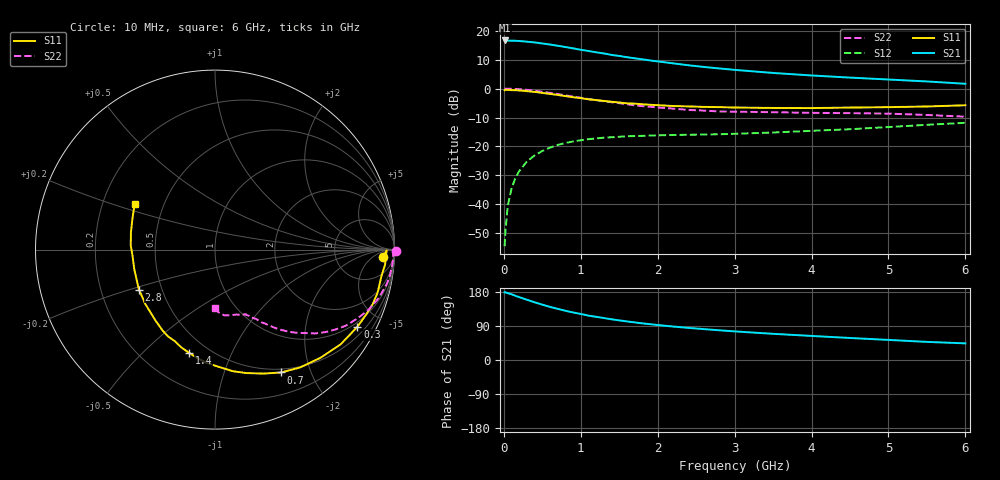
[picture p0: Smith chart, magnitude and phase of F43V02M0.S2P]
!  INFINEON TECHNOLOGIES Small Signal Semiconductors
! BFR360F , Si-NPN RF-Transistor T571A in TSFP3
!  Vce=3 V,  Ic=2 mA
! Common Emitter S-Parameters:  29. May 2001
#  GHz  S  MA  R  50
! f  S11  S21  S12  S22
! GHz  Mag  Ang  Mag  Ang  Mag  Ang  Mag  Ang
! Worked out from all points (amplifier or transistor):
!   36 points, 10 MHz to 6 GHz, reference 50 ohm
!   highest |S21| = 16.6 dB at 10 MHz (marker M1)
!   |S21| within 3 dB of that: start of sweep to 956 MHz
!   unconditionally stable (mu >= 1): 3.448 GHz to end of sweep
!   at 250 MHz: K = 0.07, MSG = 21.6 dB, |S12| = -26.8 dB
!   at 1.4 GHz: K = 0.47, MSG = 14.2 dB, |S12| = -16.8 dB
!   at 6 GHz: K = 1.09, MAG = 4.9 dB, |S12| = -11.8 dB
!   S11 on the Smith chart (normalised r, x): 10 MHz: 21, -14; 300 MHz: 0.81, -3.77; 700 MHz: 0.46, -1.58; 1.4 GHz: 0.40, -0.70; 2.8 GHz: 0.37, -0.22; 6 GHz: 0.34, +0.24
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0.01  0.9369 -2.5  6.78 178.5  0.0019 87.3  1.007 -0.4
0.02  0.9559 -0.3  6.756 178.8  0.0033 96.7  0.9923 -1.1
0.05  0.9514 -5.0  6.747 176.4  0.0093 90.1  0.9939 -2.9
0.1  0.9388 -9.2  6.713 173.4  0.0188 86.7  0.9899 -5.7
0.2  0.9295 -19.1  6.635 165.9  0.0376 80.1  0.9761 -11.2
0.3  0.9024 -28.5  6.458 158.9  0.055 74.1  0.951 -16.5
0.4  0.8764 -37.1  6.269 152.3  0.0702 69.2  0.9186 -21.5
0.5  0.842 -45.7  6.013 146.1  0.0835 65.3  0.8812 -25.8
0.6  0.8097 -54.2  5.769 140.1  0.0957 61.1  0.8439 -30.1
0.7  0.7775 -61.7  5.49 135.0  0.1064 57.8  0.805 -33.6
0.8  0.7419 -68.6  5.222 129.9  0.115 54.5  0.7662 -36.9
0.9  0.7096 -75.8  4.957 125.4  0.122 51.8  0.7271 -40.0
1.1  0.6526 -88.4  4.458 117.1  0.1337 47.6  0.6607 -44.7
1.4  0.5927 -104.2  3.816 107.5  0.1444 43.4  0.5812 -50.4
1.6  0.5563 -114.0  3.486 101.8  0.1503 41.8  0.5373 -53.3
1.8  0.5367 -123.1  3.205 96.7  0.1527 40.8  0.4976 -55.9
2.2  0.5005 -136.3  2.728 88.3  0.1581 40.6  0.4506 -59.2
2.8  0.4789 -152.2  2.229 78.4  0.1628 42.7  0.4026 -64.4
3.5  0.4628 -166.3  1.862 69.1  0.1744 48.3  0.3911 -68.4
4.5  0.4703 177.0  1.548 58.1  0.1987 55.2  0.3764 -76.4
5.5  0.491 159.6  1.328 47.8  0.2369 60.9  0.3503 -86.6
6  0.5154 150.3  1.211 43.9  0.2565 62.9  0.3273 -90.1
